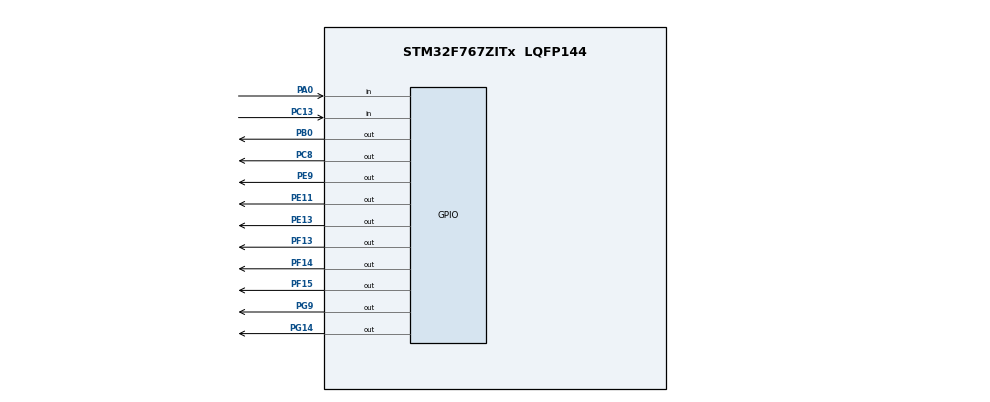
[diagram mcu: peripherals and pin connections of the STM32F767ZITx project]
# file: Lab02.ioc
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Mcu.Family=STM32F7
Mcu.Name=STM32F767ZITx
Mcu.Package=LQFP144
NVIC.PriorityGroup=NVIC_PRIORITYGROUP_4
PA0/WKUP.Signal=GPIO_Input
PB0.Signal=GPIO_Output
PC13.Signal=GPIO_Input
PC8.Signal=GPIO_Output
PE11.Signal=GPIO_Output
PE13.Signal=GPIO_Output
PE9.Signal=GPIO_Output
PF13.Signal=GPIO_Output
PF14.Signal=GPIO_Output
PF15.Signal=GPIO_Output
PG14.Signal=GPIO_Output
PG9.Signal=GPIO_Output
ProjectManager.HeapSize=0x200
ProjectManager.StackSize=0x400
ProjectManager.TargetToolchain=STM32CubeIDE
RCC.HSE_VALUE=25000000
RCC.HSI_VALUE=16000000
RCC.LSE_VALUE=32768
RCC.USBFreq_Value=96000000
RCC.VCOOutputFreq_Value=192000000
board=custom

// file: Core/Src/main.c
/* USER CODE BEGIN Header */
/**
  ******************************************************************************
  * @file           : main.c
  * @brief          : Main program body
  ******************************************************************************
  * @attention
  *
  * Copyright (c) 2023 STMicroelectronics.
  * All rights reserved.
  *
  * This software is licensed under terms that can be found in the LICENSE file
  * in the root directory of this software component.
  * If no LICENSE file comes with this software, it is provided AS-IS.
  *
  ******************************************************************************
  */
/* USER CODE END Header */
#include "main.h"

/* USER CODE BEGIN PV */
uint8_t num = 0;
/* USER CODE END PV */

void SystemClock_Config(void);
static void MX_GPIO_Init(void);

int main(void)
{

  /* MCU Configuration--------------------------------------------------------*/

  /* Reset of all peripherals, Initializes the Flash interface and the Systick. */
  HAL_Init();

  /* Configure the system clock */
  SystemClock_Config();

  /* Initialize all configured peripherals */
  MX_GPIO_Init();

  /* Infinite loop */
  while (1)
  {

    /* USER CODE BEGIN 3 */
	  if (num == 0){
	  HAL_GPIO_WritePin(GPIOF, GPIO_PIN_13, GPIO_PIN_SET);
	  HAL_GPIO_WritePin(GPIOE, GPIO_PIN_9, GPIO_PIN_SET);
	  HAL_GPIO_WritePin(GPIOE, GPIO_PIN_11, GPIO_PIN_SET);
	  HAL_GPIO_WritePin(GPIOF, GPIO_PIN_14, GPIO_PIN_SET);
	  HAL_GPIO_WritePin(GPIOE, GPIO_PIN_13, GPIO_PIN_SET);
	  HAL_GPIO_WritePin(GPIOF, GPIO_PIN_15, GPIO_PIN_SET);
	  HAL_GPIO_WritePin(GPIOG, GPIO_PIN_14, GPIO_PIN_SET);
	  HAL_GPIO_WritePin(GPIOG, GPIO_PIN_9, GPIO_PIN_SET);
	  num++;
	  }

	  if (HAL_GPIO_ReadPin(GPIOC, GPIO_PIN_13) == GPIO_PIN_SET && num == 1)
	  {
		  HAL_GPIO_WritePin(GPIOG, GPIO_PIN_9, GPIO_PIN_SET);
		  HAL_GPIO_WritePin(GPIOF, GPIO_PIN_13, GPIO_PIN_RESET);
		  HAL_Delay(500);
		  num++;
	  }

	  else if (HAL_GPIO_ReadPin(GPIOC, GPIO_PIN_13) == GPIO_PIN_SET && num == 2)
	  	  {
	  		  HAL_GPIO_WritePin(GPIOF, GPIO_PIN_13, GPIO_PIN_SET);
	  		  HAL_GPIO_WritePin(GPIOE, GPIO_PIN_9, GPIO_PIN_RESET);
	  		  HAL_Delay(500);
	  		  num++;
	  	  }

	  else if (HAL_GPIO_ReadPin(GPIOC, GPIO_PIN_13) == GPIO_PIN_SET && num == 3)
	  	  {
	  		  HAL_GPIO_WritePin(GPIOE, GPIO_PIN_9, GPIO_PIN_SET);
	  		  HAL_GPIO_WritePin(GPIOE, GPIO_PIN_11, GPIO_PIN_RESET);
	  		  HAL_Delay(500);
	  		  num++;
	  	  }
	  else if (HAL_GPIO_ReadPin(GPIOC, GPIO_PIN_13) == GPIO_PIN_SET && num == 4)
	  	  {
	  		  HAL_GPIO_WritePin(GPIOE, GPIO_PIN_11, GPIO_PIN_SET);
	  		  HAL_GPIO_WritePin(GPIOF, GPIO_PIN_14, GPIO_PIN_RESET);
	  		  HAL_Delay(500);
	  		  num++;
	  	  }
	  else if (HAL_GPIO_ReadPin(GPIOC, GPIO_PIN_13) == GPIO_PIN_SET && num == 5)
	  	  {
	  		  HAL_GPIO_WritePin(GPIOF, GPIO_PIN_14, GPIO_PIN_SET);
	  		  HAL_GPIO_WritePin(GPIOE, GPIO_PIN_13, GPIO_PIN_RESET);
	  		  HAL_Delay(500);
	  		  num++;
	  	  }
	  else if (HAL_GPIO_ReadPin(GPIOC, GPIO_PIN_13) == GPIO_PIN_SET && num == 6)
	  	  {
	  		  HAL_GPIO_WritePin(GPIOE, GPIO_PIN_13, GPIO_PIN_SET);
	  		  HAL_GPIO_WritePin(GPIOF, GPIO_PIN_15, GPIO_PIN_RESET);
	  		  HAL_Delay(500);
	  		  num++;
	  	  }
	  else if (HAL_GPIO_ReadPin(GPIOC, GPIO_PIN_13) == GPIO_PIN_SET && num == 7)
	  	  {
	  		  HAL_GPIO_WritePin(GPIOF, GPIO_PIN_15, GPIO_PIN_SET);
	  		  HAL_GPIO_WritePin(GPIOG, GPIO_PIN_14, GPIO_PIN_RESET);
	  		  HAL_Delay(500);
	  		  num++;
	  	  }
	  else if (HAL_GPIO_ReadPin(GPIOC, GPIO_PIN_13) == GPIO_PIN_SET && num == 8)
	  	  {
	  		  HAL_GPIO_WritePin(GPIOG, GPIO_PIN_14, GPIO_PIN_SET);
	  		  HAL_GPIO_WritePin(GPIOG, GPIO_PIN_9, GPIO_PIN_RESET);
	  		  HAL_Delay(500);
	  		  num = 1;
	  	  }
	  if (HAL_GPIO_ReadPin(GPIOA, GPIO_PIN_0) == GPIO_PIN_RESET )
	  {
		  HAL_GPIO_WritePin(GPIOF, GPIO_PIN_13, GPIO_PIN_SET);
		  HAL_GPIO_WritePin(GPIOE, GPIO_PIN_9, GPIO_PIN_SET);
		  HAL_GPIO_WritePin(GPIOE, GPIO_PIN_11, GPIO_PIN_SET);
		  HAL_GPIO_WritePin(GPIOF, GPIO_PIN_14, GPIO_PIN_SET);
		  HAL_GPIO_WritePin(GPIOE, GPIO_PIN_13, GPIO_PIN_SET);
		  HAL_GPIO_WritePin(GPIOF, GPIO_PIN_15, GPIO_PIN_SET);
		  HAL_GPIO_WritePin(GPIOG, GPIO_PIN_14, GPIO_PIN_SET);
		  HAL_GPIO_WritePin(GPIOG, GPIO_PIN_9, GPIO_PIN_SET);
		  HAL_GPIO_WritePin(GPIOG, GPIO_PIN_9, GPIO_PIN_RESET);
  		  HAL_Delay(500);
  		  HAL_GPIO_WritePin(GPIOG, GPIO_PIN_9, GPIO_PIN_SET);
		  HAL_GPIO_WritePin(GPIOG, GPIO_PIN_14, GPIO_PIN_RESET);
  		  HAL_Delay(500);
  		  HAL_GPIO_WritePin(GPIOG, GPIO_PIN_14, GPIO_PIN_SET);
		  HAL_GPIO_WritePin(GPIOF, GPIO_PIN_15, GPIO_PIN_RESET);
  		  HAL_Delay(500);
  		  HAL_GPIO_WritePin(GPIOF, GPIO_PIN_15, GPIO_PIN_SET);
		  HAL_GPIO_WritePin(GPIOE, GPIO_PIN_13, GPIO_PIN_RESET);
  		  HAL_Delay(500);
		  HAL_GPIO_WritePin(GPIOE, GPIO_PIN_13, GPIO_PIN_SET);
		  HAL_GPIO_WritePin(GPIOF, GPIO_PIN_14, GPIO_PIN_RESET);
  		  HAL_Delay(500);
		  HAL_GPIO_WritePin(GPIOF, GPIO_PIN_14, GPIO_PIN_SET);
		  HAL_GPIO_WritePin(GPIOE, GPIO_PIN_11, GPIO_PIN_RESET);
  		  HAL_Delay(500);
		  HAL_GPIO_WritePin(GPIOE, GPIO_PIN_11, GPIO_PIN_SET);
		  HAL_GPIO_WritePin(GPIOE, GPIO_PIN_9, GPIO_PIN_RESET);
  		  HAL_Delay(500);
		  HAL_GPIO_WritePin(GPIOE, GPIO_PIN_9, GPIO_PIN_SET);
		  HAL_GPIO_WritePin(GPIOF, GPIO_PIN_13, GPIO_PIN_RESET);
  		  HAL_Delay(500);
		  HAL_GPIO_WritePin(GPIOF, GPIO_PIN_13, GPIO_PIN_SET);
		  num = 0;
	  }
  }
  /* USER CODE END 3 */
}

void SystemClock_Config(void)
{
  RCC_OscInitTypeDef RCC_OscInitStruct = {0};
  RCC_ClkInitTypeDef RCC_ClkInitStruct = {0};

  /** Configure the main internal regulator output voltage
  */
  __HAL_RCC_PWR_CLK_ENABLE();
  __HAL_PWR_VOLTAGESCALING_CONFIG(PWR_REGULATOR_VOLTAGE_SCALE3);

  /** Initializes the RCC Oscillators according to the specified parameters
  * in the RCC_OscInitTypeDef structure.
  */
  RCC_OscInitStruct.OscillatorType = RCC_OSCILLATORTYPE_HSI;
  RCC_OscInitStruct.HSIState = RCC_HSI_ON;
  RCC_OscInitStruct.HSICalibrationValue = RCC_HSICALIBRATION_DEFAULT;
  RCC_OscInitStruct.PLL.PLLState = RCC_PLL_NONE;
  if (HAL_RCC_OscConfig(&RCC_OscInitStruct) != HAL_OK)
  {
    Error_Handler();
  }

  /** Initializes the CPU, AHB and APB buses clocks
  */
  RCC_ClkInitStruct.ClockType = RCC_CLOCKTYPE_HCLK|RCC_CLOCKTYPE_SYSCLK
                              |RCC_CLOCKTYPE_PCLK1|RCC_CLOCKTYPE_PCLK2;
  RCC_ClkInitStruct.SYSCLKSource = RCC_SYSCLKSOURCE_HSI;
  RCC_ClkInitStruct.AHBCLKDivider = RCC_SYSCLK_DIV1;
  RCC_ClkInitStruct.APB1CLKDivider = RCC_HCLK_DIV1;
  RCC_ClkInitStruct.APB2CLKDivider = RCC_HCLK_DIV1;

  if (HAL_RCC_ClockConfig(&RCC_ClkInitStruct, FLASH_LATENCY_0) != HAL_OK)
  {
    Error_Handler();
  }
}

static void MX_GPIO_Init(void)
{
  GPIO_InitTypeDef GPIO_InitStruct = {0};

  /* GPIO Ports Clock Enable */
  __HAL_RCC_GPIOC_CLK_ENABLE();
  __HAL_RCC_GPIOA_CLK_ENABLE();
  __HAL_RCC_GPIOB_CLK_ENABLE();
  __HAL_RCC_GPIOF_CLK_ENABLE();
  __HAL_RCC_GPIOE_CLK_ENABLE();
  __HAL_RCC_GPIOG_CLK_ENABLE();

  /*Configure GPIO pin Output Level */
  HAL_GPIO_WritePin(GPIOB, GPIO_PIN_0, GPIO_PIN_RESET);

  /*Configure GPIO pin Output Level */
  HAL_GPIO_WritePin(GPIOF, GPIO_PIN_13|GPIO_PIN_14|GPIO_PIN_15, GPIO_PIN_RESET);

  /*Configure GPIO pin Output Level */
  HAL_GPIO_WritePin(GPIOE, GPIO_PIN_9|GPIO_PIN_11|GPIO_PIN_13, GPIO_PIN_RESET);

  /*Configure GPIO pin Output Level */
  HAL_GPIO_WritePin(GPIOC, GPIO_PIN_8, GPIO_PIN_RESET);

  /*Configure GPIO pin Output Level */
  HAL_GPIO_WritePin(GPIOG, GPIO_PIN_9|GPIO_PIN_14, GPIO_PIN_RESET);

  /*Configure GPIO pin : PC13 */
  GPIO_InitStruct.Pin = GPIO_PIN_13;
  GPIO_InitStruct.Mode = GPIO_MODE_INPUT;
  GPIO_InitStruct.Pull = GPIO_NOPULL;
  HAL_GPIO_Init(GPIOC, &GPIO_InitStruct);

  /*Configure GPIO pin : PA0 */
  GPIO_InitStruct.Pin = GPIO_PIN_0;
  GPIO_InitStruct.Mode = GPIO_MODE_INPUT;
  GPIO_InitStruct.Pull = GPIO_NOPULL;
  HAL_GPIO_Init(GPIOA, &GPIO_InitStruct);

  /*Configure GPIO pin : PB0 */
  GPIO_InitStruct.Pin = GPIO_PIN_0;
  GPIO_InitStruct.Mode = GPIO_MODE_OUTPUT_PP;
  GPIO_InitStruct.Pull = GPIO_NOPULL;
  GPIO_InitStruct.Speed = GPIO_SPEED_FREQ_LOW;
  HAL_GPIO_Init(GPIOB, &GPIO_InitStruct);

  /*Configure GPIO pins : PF13 PF14 PF15 */
  GPIO_InitStruct.Pin = GPIO_PIN_13|GPIO_PIN_14|GPIO_PIN_15;
  GPIO_InitStruct.Mode = GPIO_MODE_OUTPUT_PP;
  GPIO_InitStruct.Pull = GPIO_NOPULL;
  GPIO_InitStruct.Speed = GPIO_SPEED_FREQ_LOW;
  HAL_GPIO_Init(GPIOF, &GPIO_InitStruct);

  /*Configure GPIO pins : PE9 PE11 PE13 */
  GPIO_InitStruct.Pin = GPIO_PIN_9|GPIO_PIN_11|GPIO_PIN_13;
  GPIO_InitStruct.Mode = GPIO_MODE_OUTPUT_PP;
  GPIO_InitStruct.Pull = GPIO_NOPULL;
  GPIO_InitStruct.Speed = GPIO_SPEED_FREQ_LOW;
  HAL_GPIO_Init(GPIOE, &GPIO_InitStruct);

  /*Configure GPIO pin : PC8 */
  GPIO_InitStruct.Pin = GPIO_PIN_8;
  GPIO_InitStruct.Mode = GPIO_MODE_OUTPUT_PP;
  GPIO_InitStruct.Pull = GPIO_NOPULL;
  GPIO_InitStruct.Speed = GPIO_SPEED_FREQ_LOW;
  HAL_GPIO_Init(GPIOC, &GPIO_InitStruct);

  /*Configure GPIO pins : PG9 PG14 */
  GPIO_InitStruct.Pin = GPIO_PIN_9|GPIO_PIN_14;
  GPIO_InitStruct.Mode = GPIO_MODE_OUTPUT_PP;
  GPIO_InitStruct.Pull = GPIO_NOPULL;
  GPIO_InitStruct.Speed = GPIO_SPEED_FREQ_LOW;
  HAL_GPIO_Init(GPIOG, &GPIO_InitStruct);

}

void Error_Handler(void)
{
  __disable_irq();
  while (1)
  {
  }
}
